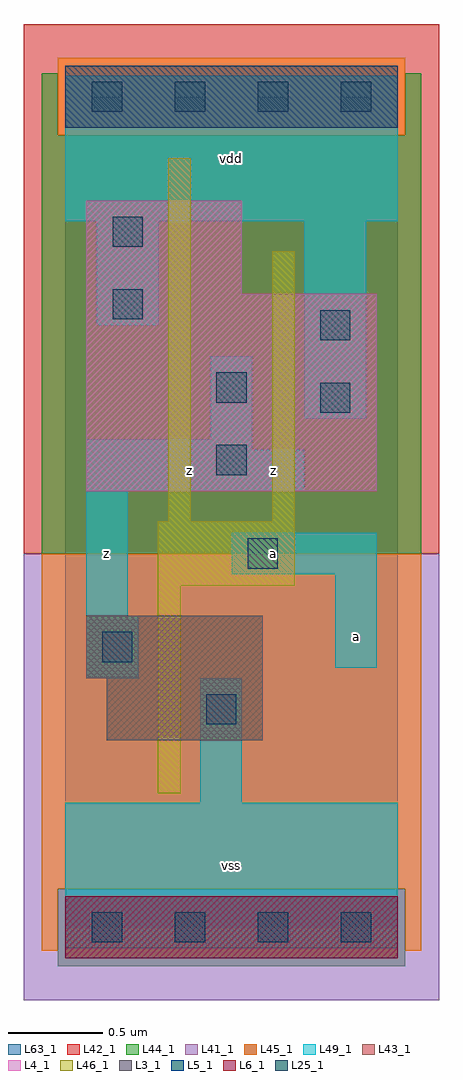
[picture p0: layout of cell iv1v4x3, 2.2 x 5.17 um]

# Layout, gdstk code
import gdstk
lib = gdstk.Library(unit=1e-6, precision=1e-09)
def R(c, l, rs):  # rectangles x0, y0, x1, y1
    for r in rs: c.add(gdstk.rectangle(r[:2], r[2:], *l))
def A(c, l, x, y, w, h, nx, ny, dx, dy):  # array of equal rectangles
    R(c, l, [(x+i*dx, y+j*dy, x+i*dx+w, y+j*dy+h) for i in range(nx) for j in range(ny)])
L3_1 = (3, 1)
L4_1 = (4, 1)
L5_1 = (5, 1)
L6_1 = (6, 1)
L25_1 = (25, 1)
L41_1 = (41, 1)
L42_1 = (42, 1)
L43_1 = (43, 1)
L44_1 = (44, 1)
L45_1 = (45, 1)
L46_1 = (46, 1)
L49_1 = (49, 1)
L63_1 = (63, 1)

iv1v4x3 = lib.new_cell('iv1v4x3')
R(iv1v4x3, L3_1, [(0.22,0.99,1.045,1.32), (0.11,1.32,1.045,1.65)])
R(iv1v4x3, L4_1, [(0.11,2.31,1.65,3.355), (0.11,3.355,0.935,3.85)])
R(iv1v4x3, L5_1, [(0,4.235,1.76,4.565)])
R(iv1v4x3, L6_1, [(0,-0.165,1.76,0.165)])
A(iv1v4x3, L25_1, 0.14, -0.08, 0.16, 0.16, 4, 2, 0.44, 4.4)
R(iv1v4x3, L25_1, [(0.745,1.075,0.905,1.235), (0.195,1.405,0.355,1.565), (0.965,1.9,1.125,2.06), (0.8,2.395,0.96,2.555), (1.35,2.725,1.51,2.885), (0.8,2.78,0.96,2.94), (1.35,3.11,1.51,3.27), (0.25,3.22,0.41,3.38), (0.25,3.605,0.41,3.765)])
R(iv1v4x3, L41_1, [(-0.22,-0.385,1.98,1.98)])
R(iv1v4x3, L42_1, [(-0.22,1.98,1.98,4.785)])
R(iv1v4x3, L43_1, [(0,-0.165,1.76,0.165), (0.22,0.99,1.045,1.32), (0.11,1.32,1.045,1.65), (0.11,2.31,1.65,3.355), (0.11,3.355,0.935,3.85), (0,4.235,1.76,4.565)])
R(iv1v4x3, L44_1, [(-0.04,-0.205,1.8,0.205), (-0.125,1.98,1.885,4.195), (-0.125,4.195,-0.04,4.525), (1.8,4.195,1.885,4.525)])
R(iv1v4x3, L45_1, [(-0.125,-0.125,-0.04,0.205), (1.8,-0.125,1.885,0.205), (-0.125,0.205,1.885,1.98), (-0.04,4.195,1.8,4.605)])
R(iv1v4x3, L46_1, [(0.49,0.71,0.61,1.81), (0.49,1.81,1.215,2.15), (0.545,2.15,0.665,4.075), (1.095,2.15,1.215,3.58)])
R(iv1v4x3, L49_1, [(0,-0.11,1.76,0.66), (0.715,0.66,0.935,1.32), (0.11,1.32,0.385,1.65), (1.43,1.375,1.65,1.87), (0.11,1.65,0.33,2.31), (0.88,1.87,1.65,2.09), (0.11,2.31,1.265,2.53), (0.11,2.53,0.99,2.585), (0.77,2.585,0.99,3.025), (1.265,2.695,1.595,3.74), (0.165,3.19,0.495,3.74), (0,3.74,1.76,4.51)])
R(iv1v4x3, L63_1, [(0,0,1.76,4.4)])
iv1v4x3.add(gdstk.Label('z', (0.22,1.98), layer=49, texttype=1))
iv1v4x3.add(gdstk.Label('z', (0.66,2.42), layer=49, texttype=1))
iv1v4x3.add(gdstk.Label('vss', (0.88,0.33), layer=49, texttype=1))
iv1v4x3.add(gdstk.Label('a', (1.1,1.98), layer=49, texttype=1))
iv1v4x3.add(gdstk.Label('z', (1.1,2.42), layer=49, texttype=1))
iv1v4x3.add(gdstk.Label('vdd', (0.88,4.07), layer=49, texttype=1))
iv1v4x3.add(gdstk.Label('a', (1.54,1.54), layer=49, texttype=1))

lib.write_gds('iv1v4x3.gds')
